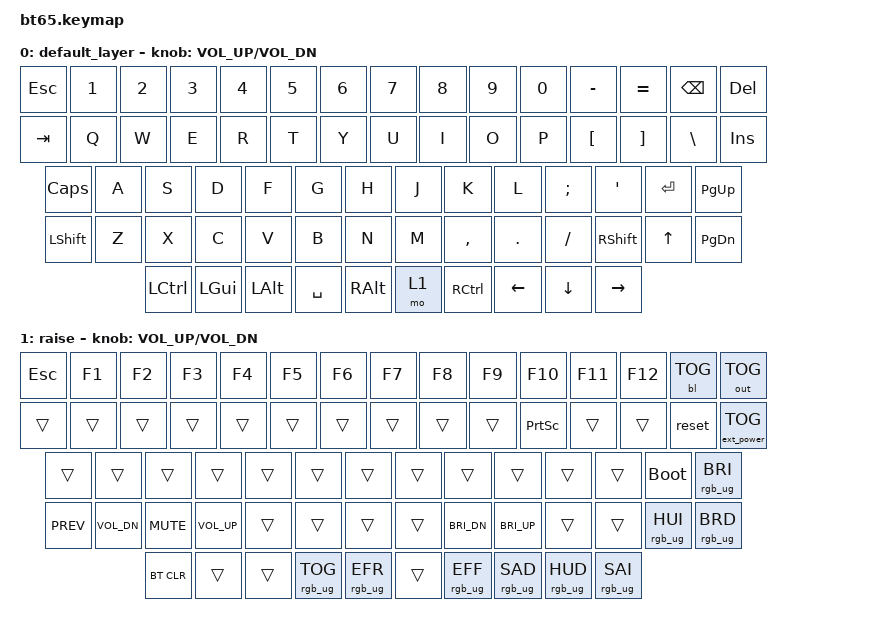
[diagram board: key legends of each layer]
#include <behaviors.dtsi>
#include <dt-bindings/zmk/keys.h>
#include <dt-bindings/zmk/bt.h>
#include <dt-bindings/zmk/outputs.h>
#include <dt-bindings/zmk/rgb.h>
#include <dt-bindings/zmk/backlight.h>
#include <dt-bindings/zmk/ext_power.h>


/ {
	keymap {
		compatible = "zmk,keymap";

		default_layer {
				// ------------------------------------------------------------------------------------------------------------
				// |  `  |  1  |  2  |  3  |  4  |  5  |  6  |  7  |  8  |  9  |  0  |  -  |  =  |BKSP | INS		|
				// | TAB  |  Q  |  W  |  E  |  R  |  T  |  Y  |  U  |  I  |  O  |  P  |  [  |  ]  |   \    | DEL		|
				// | CAPS  |  A  |  S  |  D  |  F  |  G  |  H  |  J  |  K  |  L  |  ;  |  '  |     ENTER    |PGUP	|
				// |  SHIFT  |  Z  |  X  |  C  |  V  |  B  |  N  |  M  |  ,  |  .  | /   |   SHIFT  | UP   | PGDN|
				// |  CTL  |  WIN  |  ALT  |            SPACE               | ALT | 1    |  MENU| LEFT |  DOWN    | RIGHT	|
				// ------------------------------------------------------------------------------------------------------------
			bindings = <

				&kp ESC &kp N1 &kp N2 &kp N3 &kp N4 &kp N5 &kp N6 &kp N7 &kp  N8   &kp  N9   &kp N0 &kp MINUS &kp EQUAL &kp BKSP &kp DEL
				&kp TAB  &kp Q  &kp W  &kp E  &kp R  &kp T  &kp Y  &kp U  &kp  I    &kp  O  &kp  P   &kp LBKT &kp RBKT  	&kp BSLH &kp INS
				&kp CLCK  &kp A  &kp S  &kp D  &kp F  &kp G  &kp H  &kp J  &kp  K    &kp  L  &kp SEMI &kp SQT           	&kp RET &kp PG_UP
				&kp LSHFT &kp Z  &kp X  &kp C  &kp V  &kp B  &kp N  &kp M  &kp COMMA &kp DOT &kp FSLH   &kp RSHFT &kp UP &kp PG_DN
				&kp LCTRL &kp LGUI &kp LALT            &kp SPACE                          &kp RALT  &mo 1 &kp RCTRL &kp LEFT &kp DOWN &kp RIGHT
			>;
			sensor-bindings = <&inc_dec_kp C_VOL_UP C_VOL_DN>;
		};
		raise {
			bindings = <
				&kp ESC &kp F1 &kp F2 &kp F3 &kp F4 &kp F5 &kp F6 &kp F7 &kp  F8   &kp  F9   &kp F10  &kp F11 &kp F12 &bl BL_TOG &out OUT_TOG
				&trans &trans &trans &trans &trans &trans &trans &trans &trans &trans &kp PSCRN &trans &trans &reset &ext_power EP_TOG
				&trans    &trans &trans &trans &trans &trans &trans &trans &trans &trans &trans  &trans   &bootloader &rgb_ug RGB_BRI
				&kp C_PREV &kp C_VOL_DN &kp C_MUTE &kp C_VOL_UP &trans &trans &trans &trans &kp C_BRI_DN &kp C_BRI_UP &trans &trans &rgb_ug RGB_HUI &rgb_ug RGB_BRD
				&bt BT_CLR &trans  &trans          &rgb_ug RGB_TOG           &rgb_ug RGB_EFR &trans &rgb_ug RGB_EFF &rgb_ug RGB_SAD &rgb_ug RGB_HUD &rgb_ug RGB_SAI
			>;
			sensor-bindings = <&inc_dec_kp C_VOL_UP C_VOL_DN>;
		};
	};
};
